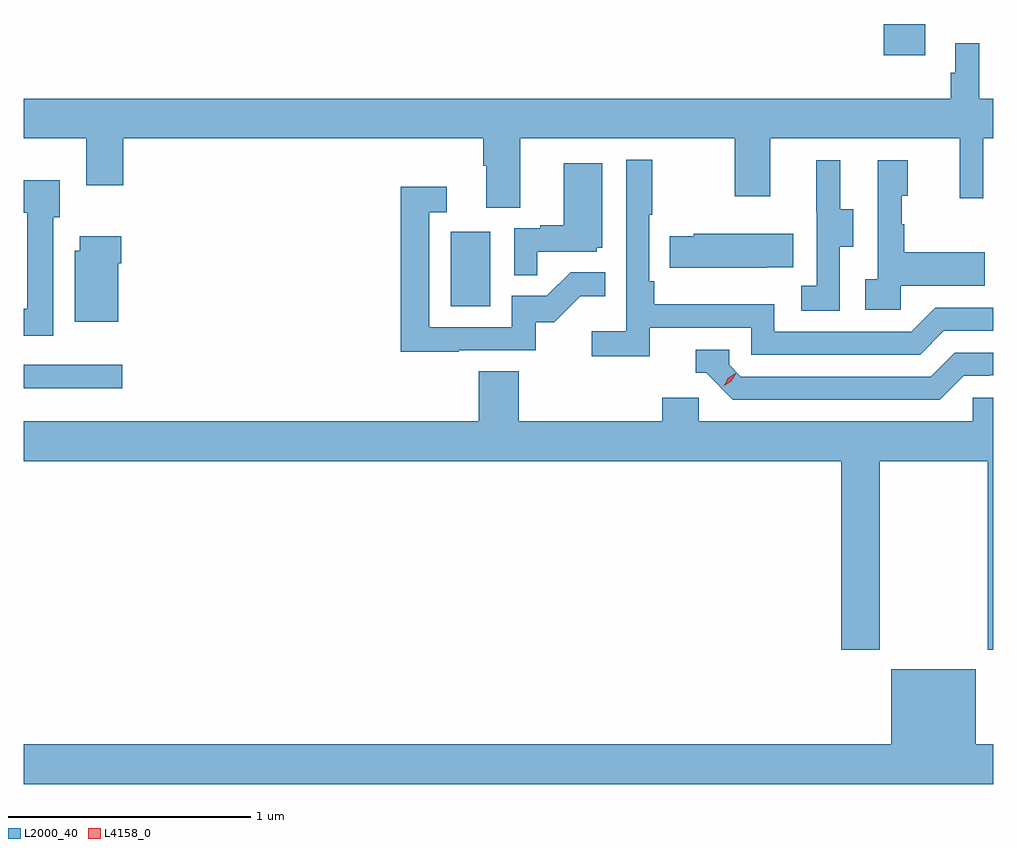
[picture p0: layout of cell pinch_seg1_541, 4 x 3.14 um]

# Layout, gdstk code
import gdstk
lib = gdstk.Library(unit=1e-6, precision=1e-09)
def R(c, l, rs):  # rectangles x0, y0, x1, y1
    for r in rs: c.add(gdstk.rectangle(r[:2], r[2:], *l))
def P(c, l, *ps):  # polygons
    for p in ps: c.add(gdstk.Polygon(p, *l))
L2000_40 = (2000, 40)
L4158_0 = (4158, 0)

pinch_seg1_541 = lib.new_cell('pinch_seg1_541')
R(pinch_seg1_541, L2000_40, [(1035.353,528.056,1035.76,528.153), (1037.114,528.396,1037.278,528.703), (1038.902,529.431,1039.072,529.56)])
P(pinch_seg1_541, L2000_40, [(1039.214,528.84),(1039.311,528.84),(1039.311,529.088),(1039.353,529.088),(1039.353,529.252),(1039.295,529.252),(1039.295,529.48),(1039.197,529.48),(1039.197,529.359),(1039.177,529.359),(1039.177,529.252),(1035.353,529.252),(1035.353,529.088),(1035.611,529.088),(1035.611,528.894),(1035.764,528.894),(1035.764,529.088),(1037.249,529.088),(1037.249,528.976),(1037.261,528.976),(1037.261,528.802),(1037.401,528.802),(1037.401,529.088),(1038.286,529.088),(1038.286,528.849),(1038.433,528.849),(1038.433,529.088),(1039.214,529.088)],
  [(1037.936,528.306),(1038.354,528.306),(1038.354,528.195),(1039.051,528.195),(1039.15,528.294),(1039.353,528.294),(1039.353,528.39),(1039.113,528.39),(1039.014,528.291),(1038.45,528.291),(1038.45,528.403),(1037.954,528.403),(1037.954,528.499),(1037.934,528.499),(1037.934,528.772),(1037.947,528.772),(1037.947,529),(1037.838,529),(1037.838,528.292),(1037.697,528.292),(1037.697,528.19),(1037.936,528.19)],
  [(1038.972,528.479),(1039.319,528.479),(1039.319,528.619),(1038.985,528.619),(1038.985,528.734),(1038.975,528.734),(1038.975,528.852),(1039,528.852),(1039,528.997),(1038.876,528.997),(1038.876,528.506),(1038.825,528.506),(1038.825,528.381),(1038.972,528.381)],
  [(1038.72,528.64),(1038.775,528.64),(1038.775,528.795),(1038.721,528.795),(1038.721,528.997),(1038.623,528.997),(1038.623,528.783),(1038.624,528.783),(1038.624,528.479),(1038.561,528.479),(1038.561,528.376),(1038.72,528.376)],
  [(1037.471,528.621),(1037.718,528.621),(1037.718,528.636),(1037.74,528.636),(1037.74,528.985),(1037.582,528.985),(1037.582,528.73),(1037.483,528.73),(1037.483,528.717),(1037.376,528.717),(1037.376,528.523),(1037.471,528.523)],
  [(1035.475,528.762),(1035.502,528.762),(1035.502,528.916),(1035.353,528.916),(1035.353,528.782),(1035.368,528.782),(1035.368,528.386),(1035.353,528.386),(1035.353,528.273),(1035.475,528.273)],
  [(1037.147,528.213),(1037.466,528.213),(1037.466,528.33),(1037.542,528.33),(1037.649,528.437),(1037.753,528.437),(1037.753,528.536),(1037.609,528.536),(1037.511,528.438),(1037.367,528.438),(1037.367,528.309),(1037.025,528.309),(1037.025,528.783),(1037.098,528.783),(1037.098,528.889),(1036.909,528.889),(1036.909,528.208),(1037.147,528.208)],
  [(1038.419,528.557),(1038.527,528.557),(1038.527,528.694),(1038.117,528.694),(1038.117,528.684),(1038.019,528.684),(1038.019,528.554),(1038.419,528.554)],
  [(1035.742,528.572),(1035.755,528.572),(1035.755,528.685),(1035.584,528.685),(1035.584,528.624),(1035.563,528.624),(1035.563,528.332),(1035.742,528.332)],
  [(1039.231,528.108),(1039.338,528.108),(1039.338,528.111),(1039.353,528.111),(1039.353,528.204),(1039.194,528.204),(1039.095,528.105),(1038.312,528.105),(1038.264,528.153),(1038.264,528.216),(1038.125,528.216),(1038.125,528.12),(1038.168,528.12),(1038.279,528.009),(1039.132,528.009)],
  [(1038.885,527.756),(1039.33,527.756),(1039.33,526.977),(1039.353,526.977),(1039.353,528.018),(1039.269,528.018),(1039.269,527.92),(1038.138,527.92),(1038.138,528.018),(1037.987,528.018),(1037.987,527.92),(1037.396,527.92),(1037.396,528.128),(1037.231,528.128),(1037.231,527.92),(1035.353,527.92),(1035.353,527.756),(1038.725,527.756),(1038.725,526.977),(1038.885,526.977)],
  [(1039.353,526.588),(1039.282,526.588),(1039.282,526.897),(1038.932,526.897),(1038.932,526.588),(1035.353,526.588),(1035.353,526.424),(1039.353,526.424)])
P(pinch_seg1_541, L4158_0, [(1038.242,528.066),(1038.242,528.066),(1038.258,528.099),(1038.289,528.118),(1038.29,528.118),(1038.29,528.117),(1038.273,528.085),(1038.242,528.066)])

lib.write_gds('pinch_seg1_541.gds')
